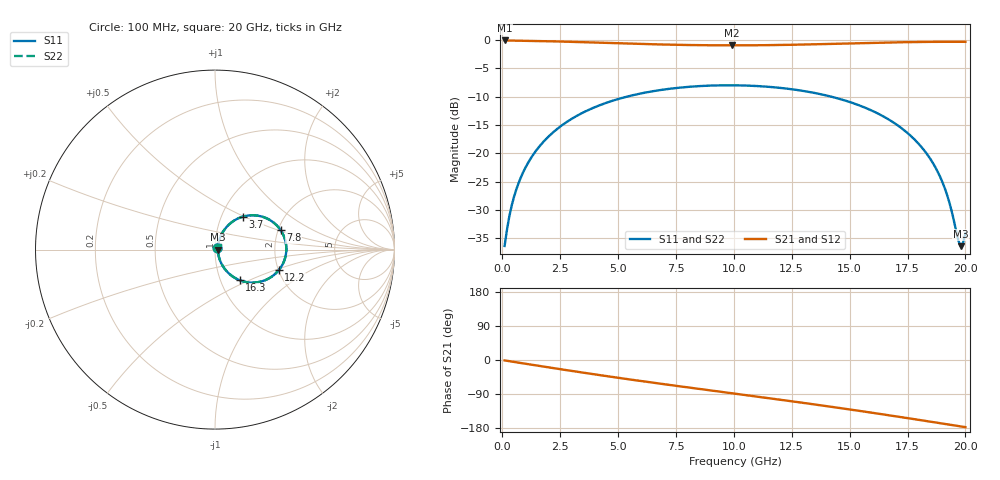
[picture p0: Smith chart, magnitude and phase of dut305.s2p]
! Touchstone file exported from HFSS 2026.1.0
!  File:  C:/ffzhzh/LocalFiles/Ansys_Project_Files/temp_train_TSV_RDL_305_1783028664_46388.aedt
!  Generated:  05:57:58 AM Jul  3, 2026
!  Design:  TSV_RDL
!  Project:  temp_train_TSV_RDL_305_1783028664_46388
! Variables:
!  h_bsmrdl = 2.55um
!  h_ox = 20um
!  h_rdl = 5um
!  h_sub = 86.55um
!  h_tmrdl = 3.21um
!  h_tsv = 86.55um
!  h_via = 3um
!  l_bsmrdl = 285.8um
!  l_sub = 2859.14um
!  l_tmrdl = 359.65um
!  m_sub = 200um
!  pitch = 45.13um
!  r_tsv = 6.92um
!  s_tmrdl = 10um
!  w_bsmrdl = 27.74um
!  w_sub = 500um
!  w_tmrdl = 26.64um
!  x_tsv_center1 = 372.97um
!  x_tsv_center2 = 686.51um
!  x_tsv_center3 = 1072.8um
!  x_tsv_center4 = 1386.34um
!  x_tsv_center5 = 1772.63um
!  x_tsv_center6 = 2086.17um
# GHz S MA R 50.000000
! Terminal data exported
! Port[1] = TM_RDL1_1_T1
! Port[2] = TM_RDL5_1_T1
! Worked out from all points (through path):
!   200 points, 100 MHz to 20 GHz, reference 50 ohm
!   highest |S21| = -0.11 dB at 100 MHz (marker M1); lowest = -1.0 dB at 9.9 GHz (marker M2)
!   group delay of S21, straight-line fit = 23.9 ps
!   lowest |S11| = -36.4 dB at 19.8 GHz (marker M3), VSWR 1.03, Z = 51.5 + j0.00465 ohm
!   |S11| at or under -10 dB: start of sweep to 5.401 GHz; 14.19 GHz to end of sweep
!   |S22| runs from -36.3 to -8.0 dB; largest |S21 - S12| = 1.7e-14
!   S11 on the Smith chart (normalised r, x): 100 MHz: 1.03, +0.02; 3.7 GHz: 1.26, +0.49; 7.8 GHz: 2.06, +0.53; 12.2 GHz: 2.01, -0.54; 16.3 GHz: 1.23, -0.44; 20 GHz: 1.03, +0.03
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0.1  0.01525 31.9  0.9872 -1.0  0.9872 -1.0  0.01525 31.9
! Gamma 0 0 0 0
! Port Impedance 50 0 50 0
0.3  0.02757 56.0  0.9855 -3.1  0.9855 -3.1  0.02757 56.0
0.5  0.04092 63.1  0.984 -5.0  0.984 -5.0  0.04092 63.1
1.1  0.08146 67.1  0.9798 -10.9  0.9798 -10.9  0.08146 67.1
2.1  0.147 62.3  0.9706 -20.4  0.9706 -20.4  0.147 62.3
3.5  0.2291 51.5  0.9532 -33.5  0.9532 -33.5  0.2291 51.5
3.7  0.2397 49.9  0.9505 -35.3  0.9505 -35.3  0.2397 49.9
6.8  0.3602 24.6  0.9104 -62.3  0.9104 -62.3  0.3602 24.6
7.8  0.3812 16.6  0.9016 -70.6  0.9016 -70.6  0.3812 16.6
9.9  0.3976 0.1  0.8937 -87.6  0.8937 -87.6  0.3976 0.1
10.1  0.3972 -1.4  0.8937 -89.3  0.8937 -89.3  0.3972 -1.4
12.2  0.3732 -17.9  0.9021 -106.5  0.9021 -106.5  0.3732 -17.9
13.4  0.3428 -27.5  0.9123 -116.5  0.9123 -116.5  0.3428 -27.5
16.3  0.2198 -51.1  0.9434 -142.2  0.9434 -142.2  0.2199 -51.1
16.7  0.1979 -54.2  0.9473 -145.9  0.9473 -145.9  0.1979 -54.2
17.9  0.1263 -62.7  0.9565 -157.1  0.9565 -157.1  0.1263 -62.7
18.7  0.07541 -65.4  0.9599 -164.7  0.9599 -164.7  0.07544 -65.4
19.2  0.0435 -61.3  0.9608 -169.5  0.9608 -169.5  0.04354 -61.2
19.7  0.01686 -22.3  0.9607 -174.3  0.9607 -174.3  0.01693 -22.2
19.8  0.01518 0.2  0.9605 -175.3  0.9605 -175.3  0.01526 0.1
19.9  0.01632 23.4  0.9603 -176.2  0.9603 -176.2  0.01638 23.2
20  0.01978 40.8  0.9601 -177.2  0.9601 -177.2  0.01983 40.6
